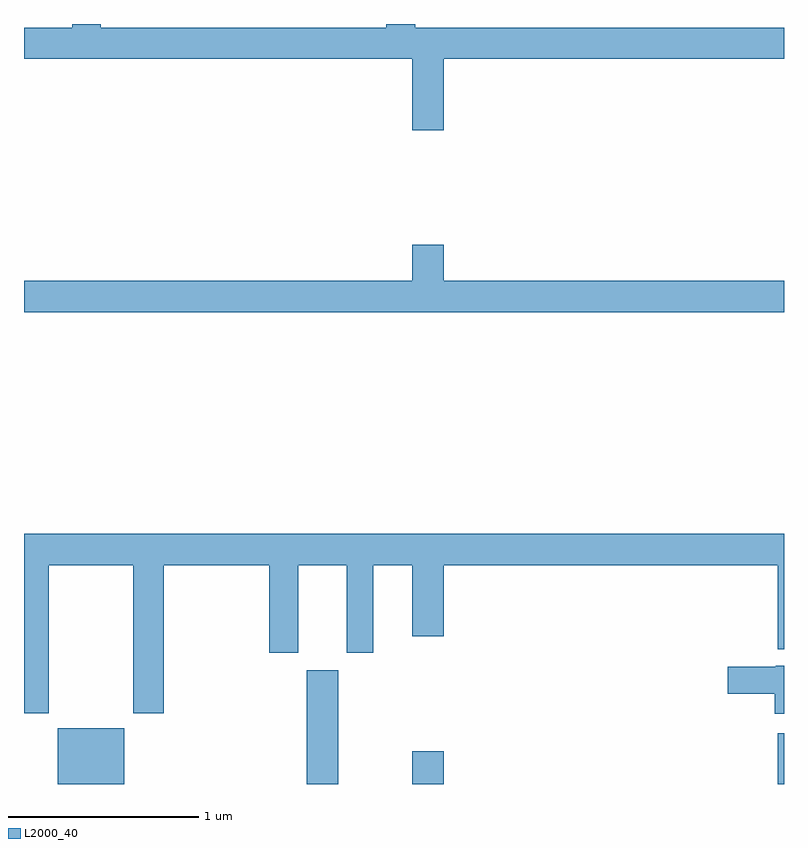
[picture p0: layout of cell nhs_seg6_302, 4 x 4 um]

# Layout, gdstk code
import gdstk
lib = gdstk.Library(unit=1e-6, precision=1e-09)
def R(c, l, rs):  # rectangles x0, y0, x1, y1
    for r in rs: c.add(gdstk.rectangle(r[:2], r[2:], *l))
def P(c, l, *ps):  # polygons
    for p in ps: c.add(gdstk.Polygon(p, *l))
L2000_40 = (2000, 40)

nhs_seg6_302 = lib.new_cell('nhs_seg6_302')
R(nhs_seg6_302, L2000_40, [(127.178,963.5,127.528,963.793), (128.489,963.5,128.653,964.099), (129.044,963.5,129.208,963.673), (130.968,963.5,131,963.766)])
P(nhs_seg6_302, L2000_40, [(129.208,967.316),(131,967.316),(131,967.48),(129.059,967.48),(129.059,967.5),(128.906,967.5),(128.906,967.48),(127.404,967.48),(127.404,967.5),(127.253,967.5),(127.253,967.48),(127,967.48),(127,967.316),(129.044,967.316),(129.044,966.942),(129.208,966.942)],
  [(131,966.148),(129.208,966.148),(129.208,966.337),(129.044,966.337),(129.044,966.148),(127,966.148),(127,965.984),(131,965.984)],
  [(127.131,964.652),(127.576,964.652),(127.576,963.873),(127.736,963.873),(127.736,964.652),(128.291,964.652),(128.291,964.191),(128.443,964.191),(128.443,964.652),(128.699,964.652),(128.699,964.191),(128.839,964.191),(128.839,964.652),(129.044,964.652),(129.044,964.278),(129.208,964.278),(129.208,964.652),(130.968,964.652),(130.968,964.208),(131,964.208),(131,964.816),(127,964.816),(127,963.873),(127.131,963.873)],
  [(131,964.123),(130.956,964.123),(130.956,964.118),(130.704,964.118),(130.704,963.976),(130.952,963.976),(130.952,963.869),(131,963.869)])

lib.write_gds('nhs_seg6_302.gds')
